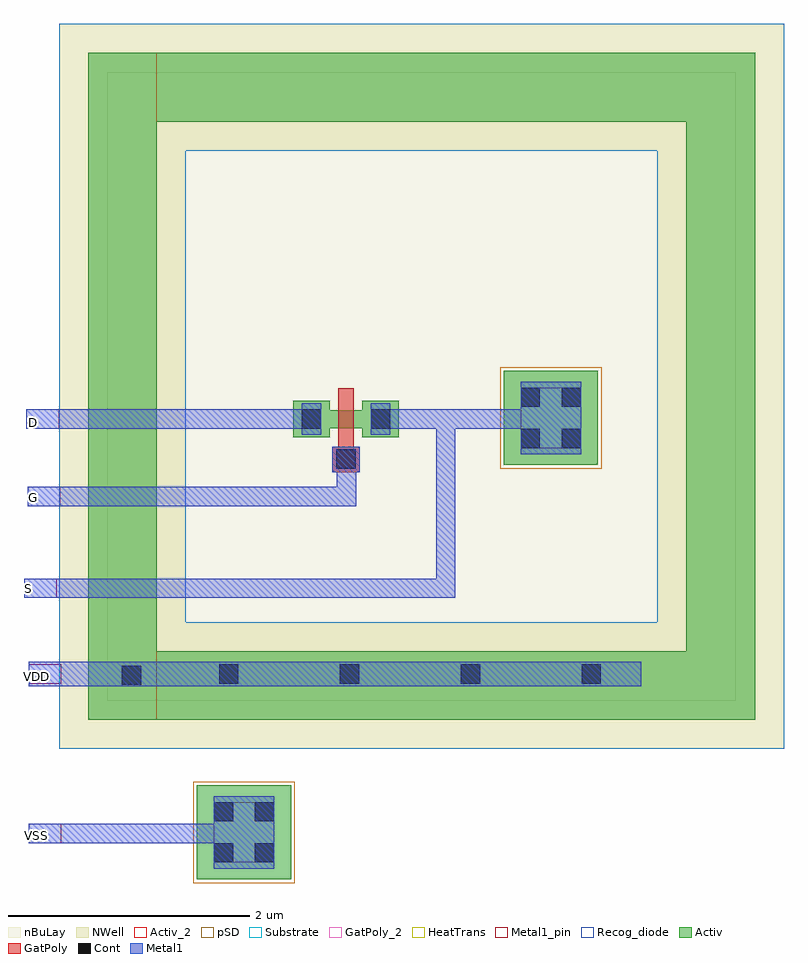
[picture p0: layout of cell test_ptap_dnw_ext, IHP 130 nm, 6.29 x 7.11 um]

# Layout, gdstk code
import gdstk
lib = gdstk.Library(unit=1e-6, precision=1e-09)
def R(c, l, rs):  # rectangles x0, y0, x1, y1
    for r in rs: c.add(gdstk.rectangle(r[:2], r[2:], *l))
def A(c, l, x, y, w, h, nx, ny, dx, dy):  # array of equal rectangles
    R(c, l, [(x+i*dx, y+j*dy, x+i*dx+w, y+j*dy+h) for i in range(nx) for j in range(ny)])
def P(c, l, *ps):  # polygons
    for p in ps: c.add(gdstk.Polygon(p, *l))
Activ = (1, 0)
Activ_2 = (1, 2)
GatPoly = (5, 0)
GatPoly_2 = (5, 2)
Cont = (6, 0)
Metal1 = (8, 0)
Metal1_pin = (8, 2)
pSD = (14, 0)
NWell = (31, 0)
nBuLay = (32, 0)
Substrate = (40, 0)
HeatTrans = (51, 0)
Recog_diode = (99, 31)

nmos = lib.new_cell('nmos')
R(nmos, Activ, [(0,0,0.3,0.3), (0.57,0,0.87,0.3), (0,0.075,0.87,0.225)])
R(nmos, GatPoly, [(0.37,-0.105,0.5,0.405)])
R(nmos, GatPoly_2, [(0.37,-0.105,0.5,0.405)])
R(nmos, Cont, [(0.07,0.07,0.23,0.23), (0.64,0.07,0.8,0.23)])
R(nmos, Metal1, [(0.07,0.02,0.23,0.28), (0.64,0.02,0.8,0.28)])
R(nmos, Metal1_pin, [(0.07,0.02,0.23,0.28), (0.64,0.02,0.8,0.28)])
R(nmos, HeatTrans, [(0.37,-0.105,0.5,0.405)])
nmos.add(gdstk.Label('nmos', (0.435,0.15), layer=63, texttype=0))
nmos.add(gdstk.Label('nmos', (0.435,0.15), layer=51, texttype=0))

isolbox = lib.new_cell('isolbox')
P(isolbox, Activ, [(-0.81,-0.81),(-0.81,-0.24),(4.14,-0.24),(4.14,4.14),(-0.24,4.14),(-0.24,-0.24),(-0.81,-0.24),(-0.81,4.71),(4.71,4.71),(4.71,-0.81)])
R(isolbox, Activ_2, [(-0.81,-0.81,-0.24,4.71)])
P(isolbox, NWell, [(-1.05,-1.05),(-1.05,0),(3.9,0),(3.9,3.9),(0,3.9),(0,0),(-1.05,0),(-1.05,4.95),(4.95,4.95),(4.95,-1.05)])
R(isolbox, nBuLay, [(-0.65,-0.65,4.55,4.55)])
P(isolbox, Recog_diode, [(-1.05,-1.05),(-1.05,0),(3.9,0),(3.9,3.9),(0,3.9),(0,0),(-1.05,0),(-1.05,4.95),(4.95,4.95),(4.95,-1.05)])
isolbox.add(gdstk.Label('isolbox', (0,-0.525), layer=63, texttype=0))

ptap1 = lib.new_cell('ptap1')
R(ptap1, Activ, [(0,0,0.78,0.78)])
R(ptap1, Cont, [(0.14,0.14,0.3,0.3), (0.48,0.14,0.64,0.3), (0.14,0.48,0.3,0.64), (0.48,0.48,0.64,0.64)])
R(ptap1, Metal1, [(0.14,0.09,0.64,0.69), (0.14,0.14,0.64,0.64)])
R(ptap1, Metal1_pin, [(0.14,0.14,0.64,0.64)])
R(ptap1, pSD, [(-0.03,-0.03,0.81,0.81)])
R(ptap1, Substrate, [(0,0,0.78,0.78)])
ptap1.add(gdstk.Label('sub!', (0.39,0.01), layer=63, texttype=0))
ptap1.add(gdstk.Label('sub!', (0.39,0.01), layer=40, texttype=0))

test_ptap_dnw_ext = lib.new_cell('test_ptap_dnw_ext')
R(test_ptap_dnw_ext, GatPoly, [(3.71,1.51,3.89,1.72), (3.76,1.51,3.94,1.72)])
A(test_ptap_dnw_ext, Cont, 2.775, -0.24, 0.16, 0.16, 4, 1, 1, 0)
R(test_ptap_dnw_ext, Cont, [(1.97,-0.25,2.13,-0.09), (3.745,1.54,3.905,1.7)])
R(test_ptap_dnw_ext, Metal1, [(3.71,1.51,3.94,1.72)])
R(test_ptap_dnw_ext, Metal1_pin, [(1.2,-1.56,1.47,-1.4), (1.2,-0.24,1.47,-0.08), (1.16,0.47,1.43,0.63), (1.19,1.23,1.46,1.39), (1.18,1.87,1.45,2.03)])
test_ptap_dnw_ext.add(gdstk.FlexPath([(2.98,-1.48),(1.2,-1.48)], 0.16, ends="flush", simple_path=True, layer=8, datatype=0))  # Metal1
test_ptap_dnw_ext.add(gdstk.FlexPath([(4.09,1.95),(5.59,1.95)], 0.16, ends="flush", simple_path=True, layer=8, datatype=0))  # Metal1
test_ptap_dnw_ext.add(gdstk.FlexPath([(3.56,1.95),(1.18,1.95)], 0.16, ends="flush", simple_path=True, layer=8, datatype=0))  # Metal1
test_ptap_dnw_ext.add(gdstk.FlexPath([(4.65,1.96),(4.65,0.55),(1.16,0.55)], 0.16, ends="flush", simple_path=True, layer=8, datatype=0))  # Metal1
test_ptap_dnw_ext.add(gdstk.FlexPath([(3.83,1.71),(3.83,1.31),(1.19,1.31)], 0.16, ends="flush", simple_path=True, layer=8, datatype=0))  # Metal1
test_ptap_dnw_ext.add(gdstk.FlexPath([(6.27,-0.16),(1.2,-0.16)], 0.2, ends="flush", simple_path=True, layer=8, datatype=0))  # Metal1
test_ptap_dnw_ext.add(gdstk.Reference(nmos, (3.39,1.8)))
test_ptap_dnw_ext.add(gdstk.Reference(isolbox, (2.5,0.27)))
test_ptap_dnw_ext.add(gdstk.Reference(ptap1, (5.13,1.57)))
test_ptap_dnw_ext.add(gdstk.Reference(ptap1, (2.59,-1.86)))
test_ptap_dnw_ext.add(gdstk.Label('VSS', (1.26,-1.5), layer=8, texttype=25))
test_ptap_dnw_ext.add(gdstk.Label('VDD', (1.26,-0.18), layer=8, texttype=25))
test_ptap_dnw_ext.add(gdstk.Label('S', (1.2,0.55), layer=8, texttype=25))
test_ptap_dnw_ext.add(gdstk.Label('G', (1.24,1.3), layer=8, texttype=25))
test_ptap_dnw_ext.add(gdstk.Label('D', (1.24,1.92), layer=8, texttype=25))

lib.write_gds('test_ptap_dnw_ext.gds')
